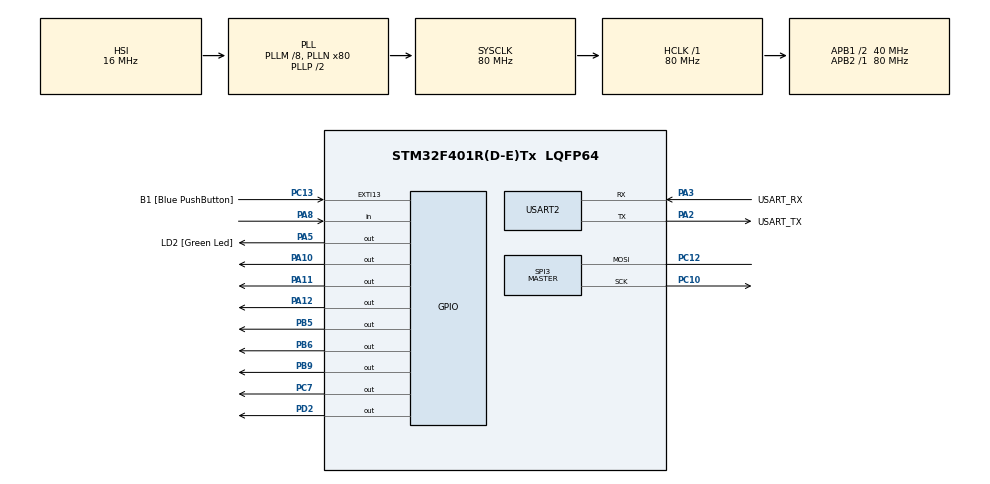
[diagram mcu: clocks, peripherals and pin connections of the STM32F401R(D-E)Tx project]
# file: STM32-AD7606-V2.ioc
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Mcu.Family=STM32F4
Mcu.Name=STM32F401R(D-E)Tx
Mcu.Package=LQFP64
NVIC.EXTI15_10_IRQn=true\:0\:0\:false\:false\:true\:true\:true\:true
NVIC.PriorityGroup=NVIC_PRIORITYGROUP_0
NVIC.SPI3_IRQn=true\:0\:0\:false\:false\:true\:true\:true\:true
NVIC.TIM1_UP_TIM10_IRQn=true\:0\:0\:false\:false\:true\:true\:true\:true
PA10.Signal=GPIO_Output
PA11.GPIO_PuPd=GPIO_NOPULL
PA11.Signal=GPIO_Output
PA12.Signal=GPIO_Output
PA13.GPIO_Label=TMS
PA13.Mode=Serial_Wire
PA13.Signal=SYS_JTMS-SWDIO
PA14.GPIO_Label=TCK
PA14.Mode=Serial_Wire
PA14.Signal=SYS_JTCK-SWCLK
PA2.GPIO_Label=USART_TX
PA2.GPIO_Mode=GPIO_MODE_AF_PP
PA2.GPIO_PuPd=GPIO_NOPULL
PA2.GPIO_Speed=GPIO_SPEED_FREQ_LOW
PA2.Mode=Asynchronous
PA2.Signal=USART2_TX
PA3.GPIO_Label=USART_RX
PA3.GPIO_Mode=GPIO_MODE_AF_PP
PA3.GPIO_PuPd=GPIO_NOPULL
PA3.GPIO_Speed=GPIO_SPEED_FREQ_LOW
PA3.Mode=Asynchronous
PA3.Signal=USART2_RX
PA5.GPIO_Label=LD2 [Green Led]
PA5.GPIO_Mode=GPIO_MODE_OUTPUT_PP
PA5.GPIO_PuPd=GPIO_NOPULL
PA5.GPIO_Speed=GPIO_SPEED_FREQ_LOW
PA5.Signal=GPIO_Output
PA8.Signal=GPIO_Input
PB3.GPIO_Label=SWO
PB3.Signal=SYS_JTDO-SWO
PB5.Signal=GPIO_Output
PB6.Signal=GPIO_Output
PB9.Signal=GPIO_Output
PC10.Mode=Simplex_Bidirectional_Master
PC10.Signal=SPI3_SCK
PC12.Mode=Simplex_Bidirectional_Master
PC12.Signal=SPI3_MOSI
PC13-ANTI_TAMP.GPIO_Label=B1 [Blue PushButton]
PC13-ANTI_TAMP.GPIO_ModeDefaultEXTI=GPIO_MODE_IT_FALLING
PC13-ANTI_TAMP.GPIO_PuPd=GPIO_NOPULL
PC13-ANTI_TAMP.Signal=GPXTI13
PC14-OSC32_IN.Mode=LSE-External-Oscillator
PC14-OSC32_IN.Signal=RCC_OSC32_IN
PC15-OSC32_OUT.Mode=LSE-External-Oscillator
PC15-OSC32_OUT.Signal=RCC_OSC32_OUT
PC7.Signal=GPIO_Output
PD2.Signal=GPIO_Output
PH0\ -\ OSC_IN.Mode=HSE-External-Clock-Source
PH0\ -\ OSC_IN.Signal=RCC_OSC_IN
PH1\ -\ OSC_OUT.Mode=HSE-External-Clock-Source
PH1\ -\ OSC_OUT.Signal=RCC_OSC_OUT
ProjectManager.HeapSize=0x200
ProjectManager.StackSize=0x400
ProjectManager.TargetToolchain=STM32CubeIDE
RCC.48MHZClocksFreq_Value=22857142.85714286
RCC.AHBFreq_Value=80000000
RCC.APB1CLKDivider=RCC_HCLK_DIV2
RCC.APB1Freq_Value=40000000
RCC.APB1TimFreq_Value=80000000
RCC.APB2Freq_Value=80000000
RCC.APB2TimFreq_Value=80000000
RCC.CortexFreq_Value=80000000
RCC.HCLKFreq_Value=80000000
RCC.HSE_VALUE=8000000
RCC.HSI_VALUE=16000000
RCC.PLLM=8
RCC.PLLN=80
RCC.PLLQ=7
RCC.SYSCLKFreq_VALUE=80000000
RCC.SYSCLKSource=RCC_SYSCLKSOURCE_PLLCLK
RCC.VCOOutputFreq_Value=160000000
SPI3.DataSize=SPI_DATASIZE_16BIT
SPI3.Direction=SPI_DIRECTION_1LINE
SPI3.Mode=SPI_MODE_MASTER
SPI3.VirtualType=VM_MASTER
USART2.VirtualMode=VM_ASYNC
VP_TIM10_VS_ClockSourceINT.Mode=Enable_Timer
board=NUCLEO-F401RE

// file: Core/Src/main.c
/* USER CODE BEGIN Header */
/**
 ******************************************************************************
 * @file           : main.c
 * @brief          : Main program body
 ******************************************************************************
 * @attention
 *
 * Copyright (c) 2024 STMicroelectronics.
 * All rights reserved.
 *
 * This software is licensed under terms that can be found in the LICENSE file
 * in the root directory of this software component.
 * If no LICENSE file comes with this software, it is provided AS-IS.
 *
 ******************************************************************************
 */
/* USER CODE END Header */
#include "main.h"

/* USER CODE BEGIN Includes */
#include "ad7606.h"
#include "stm32_gpio.h"
#include "stm32_spi.h"
#include "no_os_spi.h"
#include <string.h>
#include "no_os_dma.h"
#include "stm32_dma.h"
#define ID ID_AD7606_8

/* USER CODE END Includes */

SPI_HandleTypeDef hspi3;

TIM_HandleTypeDef htim10;

UART_HandleTypeDef huart2;

void SystemClock_Config(void);
static void MX_GPIO_Init(void);
static void MX_USART2_UART_Init(void);
static void MX_SPI3_Init(void);
static void MX_TIM10_Init(void);

int main(void)
{

  /* MCU Configuration--------------------------------------------------------*/

  /* Reset of all peripherals, Initializes the Flash interface and the Systick. */
  HAL_Init();

  /* Configure the system clock */
  SystemClock_Config();

  /* Initialize all configured peripherals */
  MX_GPIO_Init();
  MX_USART2_UART_Init();
  MX_SPI3_Init();
  MX_TIM10_Init();
  /* USER CODE BEGIN 2 */
  // SET PIN CONFIGURATIONS
  /* AD7606   ->    STM32
   * BUSY 		 -> PC7
   * RESET 		 -> PC6
   * CONVST 	 -> PB15
   * CHIP_SELECT -> PB14 (SPI CS)
   * D7_OUT 	 -> PC11  (MISO)  PB13
   * RD 		 -> PC10 (SPI SCLK)  (prima era pb12)
   * */
	//------------------------ GPIO INITIALIZATION --------------------------
	//-------- RESET PIN ----------
	struct no_os_gpio_init_param gpio_reset = { .port = 2,		// GPIO: PC7
			.number = 7,              // GPIO pin number for RESET
			.platform_ops = &stm32_gpio_ops, // Platform-specific operations (set to NULL if not needed)
			.extra = NULL             // Extra parameters if needed
			};
	struct no_os_gpio_desc gpio_reset_desc = { .port = 2, .number = 7,
			.platform_ops = &stm32_gpio_ops, .extra = NULL };

	//---------------------------------- CONVST PIN --------------------------------------------
	struct stm32_gpio_init_param stm32_convst_init_param = {
			/** Output mode */
			.mode = GPIO_MODE_OUTPUT_PP,
			.speed = GPIO_SPEED_FREQ_HIGH,
			.alternate = 0
		};
	struct stm32_gpio_desc stm32_convst_desc = {  //PB15
			.port = GPIOB,
			.gpio_config = {
					.Pin = 15,
					.Mode = GPIO_MODE_OUTPUT_PP,
					.Speed = GPIO_SPEED_FREQ_HIGH,
					.Alternate = 0,
			}
	};
	struct no_os_gpio_init_param gpio_convst = { .port = 1,		// GPIO: PB15
			.number = 15,              // GPIO pin number for CONVST
			.platform_ops = &stm32_gpio_ops, // Platform-specific operations (set to NULL if not needed)
			.extra = &stm32_convst_desc,             // Extra parameters if needed
			.extra = &stm32_convst_init_param
			};
	struct no_os_gpio_desc gpio_convst_desc = {
			.port = 1,
			.number = 15,
			.platform_ops = &stm32_gpio_ops,
			.extra = &stm32_convst_desc,
			.extra = &stm32_convst_init_param
	};

	//----------------------------------- BUSY PIN (PC7) -------------------------------------------------
	struct stm32_gpio_desc stm32_busy_desc = {
			.port = GPIOC,
			.gpio_config = {
					.Pin = GPIO_PIN_7,
					.Mode = GPIO_MODE_INPUT,
					.Speed = GPIO_SPEED_FREQ_HIGH,
					.Alternate = 0,
			}
	};
	struct stm32_gpio_init_param stm32_busy_init_param = {
				/** Output mode */
				.mode = GPIO_MODE_INPUT,
				.speed = GPIO_SPEED_FREQ_HIGH,
				.alternate = 0
			};
	struct no_os_gpio_init_param gpio_busy = { .port = 2,		// GPIO: PC7
			.number = 7,              // GPIO pin number for BUSY
			.platform_ops = &stm32_gpio_ops, // Platform-specific operations (set to NULL if not needed)
			.extra = &stm32_busy_desc,             // Extra parameters if needed
			.extra = &stm32_busy_init_param
			};
	struct no_os_gpio_desc gpio_busy_desc = {
			.port = 2,
			.number = 7,
			.platform_ops = &stm32_gpio_ops,
			.extra = &stm32_busy_desc,
			.extra = &stm32_busy_init_param
	};

	//------ STBY_N PIN ---------
	//struct stm32_gpio_desc *stm32_stdby_n_desc;
	struct no_os_gpio_init_param gpio_stby_n = { .port = 0,	// GPIO: PA12
			.number = GPIO_PIN_12,              // GPIO pin number for STBYn
			.platform_ops = &stm32_gpio_ops, // Platform-specific operations (set to NULL if not needed)
			.extra = NULL             // Extra parameters if needed
			};
	struct no_os_gpio_desc gpio_stby_n_desc = { .port = 0,
			.number = GPIO_PIN_12, .platform_ops = &stm32_gpio_ops, .extra = NULL };

	//------ RANGE PIN -> GND -------
	//struct stm32_gpio_desc *stm32_range_desc;
	struct no_os_gpio_init_param gpio_range = { .port = 0,	// GPIO: PA10
			.number = GPIO_PIN_10,              // GPIO pin number for RANGE
			.platform_ops = &stm32_gpio_ops, // Platform-specific operations (set to NULL if not needed)
			.extra = NULL             // Extra parameters if needed
			};
	struct no_os_gpio_desc gpio_range_desc = { .port = 0, .number = GPIO_PIN_10,
			.platform_ops = &stm32_gpio_ops, .extra = NULL };
	//----- OS0 PIN -> GND -----
	//struct stm32_gpio_desc *stm32_os0_desc;
	struct no_os_gpio_init_param gpio_os0 = { .port = 3,		// GPIO: PD2
			.number = GPIO_PIN_2,              // GPIO pin number for OS0
			.platform_ops = &stm32_gpio_ops, // Platform-specific operations (set to NULL if not needed)
			.extra = NULL             // Extra parameters if needed
			};
	struct no_os_gpio_desc gpio_os0_desc = { .port = 3, .number = GPIO_PIN_2,
			.platform_ops = &stm32_gpio_ops, .extra = NULL };
	//---- OS1 PIN -> GND -----
	//struct stm32_gpio_desc *stm32_os1_desc;
	struct no_os_gpio_init_param gpio_os1 = { .port = 1,		// GPIO: PB5
			.number = GPIO_PIN_5,              // GPIO pin number for OS1
			.platform_ops = &stm32_gpio_ops, // Platform-specific operations (set to NULL if not needed)
			.extra = NULL             // Extra parameters if needed
			};
	struct no_os_gpio_desc gpio_os1_desc = { .port = 1, .number = GPIO_PIN_5,
			.platform_ops = &stm32_gpio_ops, .extra = NULL };
	//------- OS2 PIN -> GND ---
	//struct stm32_gpio_desc *stm32_os2_desc;
	struct no_os_gpio_init_param gpio_os2 = { .port = 0,		// GPIO: PA11
			.number = 11,              // GPIO pin number for OS2
			.platform_ops = &stm32_gpio_ops, // Platform-specific operations (set to NULL if not needed)
			.extra = NULL             // Extra parameters if needed
			};
	struct no_os_gpio_desc gpio_os2_desc = { .port = 0, .number = 11,
			.platform_ops = &stm32_gpio_ops, .extra = NULL };

	//--------- PAR_SER PIN (PB14) ----
	//struct stm32_gpio_desc *stm32_par_ser_desc;
	struct no_os_gpio_init_param gpio_par_ser = { .port = 1,	// GPIO: PB14
			.number = 14,              // GPIO pin number for PARn/SER
			.platform_ops = &stm32_gpio_ops, // Platform-specific operations (set to NULL if not needed)
			.extra = NULL             // Extra parameters if needed
			};
	struct no_os_gpio_desc gpio_par_ser_desc =
			{ .port = 1, .number = 14, .platform_ops = &stm32_gpio_ops,
					.extra = NULL };
	// -------------- DMA INITIALIZATION --------------
	struct no_os_dma_init_param dma_init = {
			.id = 123,
			.num_ch = 8,
			.platform_ops = &stm32_dma_ops,
			.sg_handler = NULL
	};
	struct no_os_dma_desc dma_desc = {
			.platform_ops = &stm32_dma_ops
	};
	struct no_os_dma_ch dma_rx_ch = {
			.id = 1,
	};
	struct no_os_dma_ch dma_tx_ch ={
			.id = 2,
	};
	// -------------- SPI INITIALIZATION ---------------
	struct no_os_platform_spi_delays platform_spi_delays = {
			.cs_delay_first = 1, .cs_delay_last = 1 };

	struct stm32_spi_init_param stm32_spi_init_param = {
			.chip_select_port = 1,
			.get_input_clock = HAL_RCC_GetPCLK2Freq,
			.dma_init = &dma_init,
			.rxdma_ch = &dma_rx_ch,
			.txdma_ch = &dma_tx_ch,
			.pwm_init = NULL
	};
	struct stm32_spi_desc stm32_spi_desc = {
			.hspi = &hspi3,
			.input_clock = HAL_RCC_GetPCLK2Freq,
			.chip_select = &gpio_par_ser_desc,
	};
	struct no_os_spibus_desc spibus_desc = {
			.device_id = ID,
			.max_speed_hz = HAL_RCC_GetPCLK2Freq,
			.mode = NO_OS_SPI_MODE_0,
			.bit_order = NO_OS_SPI_BIT_ORDER_MSB_FIRST,
			.platform_ops = &stm32_spi_ops,
	};
	struct no_os_spi_init_param spi_init_param = {
			.device_id = ID,
			.max_speed_hz = HAL_RCC_GetPCLK2Freq,
			.chip_select = &gpio_par_ser.port,   //DA CONTROLLARE
			.mode = NO_OS_SPI_MODE_0,
			.bit_order = NO_OS_SPI_BIT_ORDER_MSB_FIRST,
			.platform_ops =	&stm32_spi_ops,
			.platform_delays = platform_spi_delays,
			.extra = &stm32_spi_init_param,
			.extra = &stm32_spi_desc,
			.extra = &spibus_desc,
	};

	struct no_os_spi_desc spi_desc = {
			.bus = &spibus_desc,
			.device_id = ID,
			.max_speed_hz = HAL_RCC_GetPCLK2Freq,
			.chip_select = &gpio_par_ser.port,
			.mode = NO_OS_SPI_MODE_0,
			.bit_order = NO_OS_SPI_BIT_ORDER_MSB_FIRST,
			.platform_ops = &stm32_spi_ops,
			.platform_delays = platform_spi_delays,
			.extra = &stm32_spi_desc,
			.extra = &stm32_spi_init_param,
	};
	//spi_desc->extra = &stm32_spi_desc;

	//------------ DEVICE AD7606 -------------
	struct ad7606_config ad7606_config = { .op_mode = AD7606_NORMAL,
			.dout_format = AD7606_2_DOUT, .ext_os_clock = false,
			.status_header = true };
	struct ad7606_range ad7606_range = { .min = -5000, .max = 5000,
			.differential = false };
	struct ad7606_oversampling ad7606_oversampling = { .os_pad = 4, .os_ratio =
			4 };
	struct ad7606_digital_diag *ad7606_digital_diag;
	uint8_t data[28];
	struct ad7606_dev dev = {
			.spi_desc = &spi_desc,
			.gpio_reset = &gpio_reset_desc,
			.gpio_convst = &gpio_convst_desc,
			.gpio_busy = &gpio_busy_desc,
			.gpio_stby_n = &gpio_stby_n_desc,
			.gpio_range = &gpio_range_desc,
			.gpio_os0 = &gpio_os0_desc,
			.gpio_os1 =	&gpio_os1_desc,
			.gpio_os2 = &gpio_os2_desc,
			.gpio_par_ser =	&gpio_par_ser_desc,
			.device_id = ID, .oversampling = ad7606_oversampling,
			.sw_mode = false, // Whether the device is running in hardware or software mode: false=hardware mode ????
			.reg_mode = false, // Whether the device is running in register or ADC reading mode: false = ADC reading mode ????
			.max_dout_lines = AD7606_2_DOUT, .config = ad7606_config,
			.digital_diag_enable = ad7606_digital_diag, .num_channels = 8,
			.range_ch = ad7606_range, .data = data //Data buffer (used internally by the SPI communication functions)
			};

	struct ad7606_init_param ad7606_init_param = {
			.spi_init = spi_init_param,
			.gpio_reset = &gpio_reset,
			.gpio_convst = &gpio_convst,
			.gpio_busy = &gpio_busy,
			.gpio_stby_n = &gpio_stby_n,
			.gpio_range = &gpio_range,
			.gpio_os0 = &gpio_os0, .gpio_os1 = &gpio_os1,
			.gpio_os2 = &gpio_os2,
			.gpio_par_ser = &gpio_par_ser,
			.device_id =ID,
			.oversampling = ad7606_oversampling,
			.sw_mode = false,
			.config = ad7606_config,
			.digital_diag_enable =	ad7606_digital_diag,
			.range_ch = ad7606_range };

	/*HAL_GPIO_WritePin(GPIOB, GPIO_PIN_6, (GPIO_PinState)1);  //chip select
	HAL_Delay(200);
	HAL_GPIO_WritePin(GPIOC, GPIO_PIN_7, (GPIO_PinState)1); //convst alto
	HAL_Delay(100);

	HAL_GPIO_WritePin(GPIOB, GPIO_PIN_9, (GPIO_PinState)1);  //reset
	HAL_Delay(100);
	HAL_GPIO_WritePin(GPIOB, GPIO_PIN_9, (GPIO_PinState)0); //reset
	HAL_Delay(200);

	HAL_GPIO_WritePin(GPIOC, GPIO_PIN_7, (GPIO_PinState)0); //convst basso
	HAL_Delay(100);
	HAL_GPIO_WritePin(GPIOC, GPIO_PIN_7, (GPIO_PinState)1);  // convst alto

	HAL_GPIO_ReadPin(GPIOA, GPIO_PIN_8);  //read busy */

	//initialization of AD7606 device
	int32_t ret_init = ad7606_init(&dev, &ad7606_init_param);
	char message_init[50];
	if (ret_init == 0) {
		snprintf(message_init, sizeof(message_init), "INITIALIZATION of AD7606 successful\n");
		HAL_UART_Transmit(&huart2, (uint8_t*)message_init, strlen(message_init), HAL_MAX_DELAY);
		printf("INITIALIZATION of AD7606 successful");
	} else {
		printf("ERROR in initialization of AD7606");
		return;
	}
	// array to store data from conversion
	uint32_t data_read[8];
  /* USER CODE END 2 */

  /* Infinite loop */
  /* USER CODE BEGIN WHILE */
	uint32_t ret_data;
	while (1) {
		ret_data = ad7606_read(&dev, data_read);
		if(ret_data == 0){
			char message_data[50];
			for(int i=0; i<8; i++){
				snprintf(message_data, sizeof(message_data), "%d", data_read[i]);
				HAL_UART_Transmit(&huart2, (uint8_t*)message_data, strlen(message_data), HAL_MAX_DELAY);
			}
		}
		no_os_udelay(3000000); //wait 3 seconds
    /* USER CODE END WHILE */

	}
}

void SystemClock_Config(void)
{
  RCC_OscInitTypeDef RCC_OscInitStruct = {0};
  RCC_ClkInitTypeDef RCC_ClkInitStruct = {0};

  /** Configure the main internal regulator output voltage
  */
  __HAL_RCC_PWR_CLK_ENABLE();
  __HAL_PWR_VOLTAGESCALING_CONFIG(PWR_REGULATOR_VOLTAGE_SCALE2);

  /** Initializes the RCC Oscillators according to the specified parameters
  * in the RCC_OscInitTypeDef structure.
  */
  RCC_OscInitStruct.OscillatorType = RCC_OSCILLATORTYPE_HSI;
  RCC_OscInitStruct.HSIState = RCC_HSI_ON;
  RCC_OscInitStruct.HSICalibrationValue = RCC_HSICALIBRATION_DEFAULT;
  RCC_OscInitStruct.PLL.PLLState = RCC_PLL_ON;
  RCC_OscInitStruct.PLL.PLLSource = RCC_PLLSOURCE_HSI;
  RCC_OscInitStruct.PLL.PLLM = 8;
  RCC_OscInitStruct.PLL.PLLN = 80;
  RCC_OscInitStruct.PLL.PLLP = RCC_PLLP_DIV2;
  RCC_OscInitStruct.PLL.PLLQ = 7;
  if (HAL_RCC_OscConfig(&RCC_OscInitStruct) != HAL_OK)
  {
    Error_Handler();
  }

  /** Initializes the CPU, AHB and APB buses clocks
  */
  RCC_ClkInitStruct.ClockType = RCC_CLOCKTYPE_HCLK|RCC_CLOCKTYPE_SYSCLK
                              |RCC_CLOCKTYPE_PCLK1|RCC_CLOCKTYPE_PCLK2;
  RCC_ClkInitStruct.SYSCLKSource = RCC_SYSCLKSOURCE_PLLCLK;
  RCC_ClkInitStruct.AHBCLKDivider = RCC_SYSCLK_DIV1;
  RCC_ClkInitStruct.APB1CLKDivider = RCC_HCLK_DIV2;
  RCC_ClkInitStruct.APB2CLKDivider = RCC_HCLK_DIV1;

  if (HAL_RCC_ClockConfig(&RCC_ClkInitStruct, FLASH_LATENCY_2) != HAL_OK)
  {
    Error_Handler();
  }
}

static void MX_SPI3_Init(void)
{

  /* SPI3 parameter configuration*/
  hspi3.Instance = SPI3;
  hspi3.Init.Mode = SPI_MODE_MASTER;
  hspi3.Init.Direction = SPI_DIRECTION_1LINE;
  hspi3.Init.DataSize = SPI_DATASIZE_16BIT;
  hspi3.Init.CLKPolarity = SPI_POLARITY_LOW;
  hspi3.Init.CLKPhase = SPI_PHASE_1EDGE;
  hspi3.Init.NSS = SPI_NSS_SOFT;
  hspi3.Init.BaudRatePrescaler = SPI_BAUDRATEPRESCALER_2;
  hspi3.Init.FirstBit = SPI_FIRSTBIT_MSB;
  hspi3.Init.TIMode = SPI_TIMODE_DISABLE;
  hspi3.Init.CRCCalculation = SPI_CRCCALCULATION_DISABLE;
  hspi3.Init.CRCPolynomial = 10;
  if (HAL_SPI_Init(&hspi3) != HAL_OK)
  {
    Error_Handler();
  }

}

static void MX_TIM10_Init(void)
{

  htim10.Instance = TIM10;
  htim10.Init.Prescaler = 0;
  htim10.Init.CounterMode = TIM_COUNTERMODE_UP;
  htim10.Init.Period = 65535;
  htim10.Init.ClockDivision = TIM_CLOCKDIVISION_DIV1;
  htim10.Init.AutoReloadPreload = TIM_AUTORELOAD_PRELOAD_DISABLE;
  if (HAL_TIM_Base_Init(&htim10) != HAL_OK)
  {
    Error_Handler();
  }

}

static void MX_USART2_UART_Init(void)
{

  huart2.Instance = USART2;
  huart2.Init.BaudRate = 115200;
  huart2.Init.WordLength = UART_WORDLENGTH_8B;
  huart2.Init.StopBits = UART_STOPBITS_1;
  huart2.Init.Parity = UART_PARITY_NONE;
  huart2.Init.Mode = UART_MODE_TX_RX;
  huart2.Init.HwFlowCtl = UART_HWCONTROL_NONE;
  huart2.Init.OverSampling = UART_OVERSAMPLING_16;
  if (HAL_UART_Init(&huart2) != HAL_OK)
  {
    Error_Handler();
  }

}

static void MX_GPIO_Init(void)
{
  GPIO_InitTypeDef GPIO_InitStruct = {0};

  /* GPIO Ports Clock Enable */
  __HAL_RCC_GPIOC_CLK_ENABLE();
  __HAL_RCC_GPIOH_CLK_ENABLE();
  __HAL_RCC_GPIOA_CLK_ENABLE();
  __HAL_RCC_GPIOD_CLK_ENABLE();
  __HAL_RCC_GPIOB_CLK_ENABLE();

  /*Configure GPIO pin Output Level */
  HAL_GPIO_WritePin(GPIOA, LD2_Pin|GPIO_PIN_10|GPIO_PIN_11|GPIO_PIN_12, GPIO_PIN_RESET);

  /*Configure GPIO pin Output Level */
  HAL_GPIO_WritePin(GPIOC, GPIO_PIN_7, GPIO_PIN_RESET);

  /*Configure GPIO pin Output Level */
  HAL_GPIO_WritePin(GPIOD, GPIO_PIN_2, GPIO_PIN_RESET);

  /*Configure GPIO pin Output Level */
  HAL_GPIO_WritePin(GPIOB, GPIO_PIN_5|GPIO_PIN_6|GPIO_PIN_9, GPIO_PIN_RESET);

  /*Configure GPIO pin : B1_Pin */
  GPIO_InitStruct.Pin = B1_Pin;
  GPIO_InitStruct.Mode = GPIO_MODE_IT_FALLING;
  GPIO_InitStruct.Pull = GPIO_NOPULL;
  HAL_GPIO_Init(B1_GPIO_Port, &GPIO_InitStruct);

  /*Configure GPIO pins : LD2_Pin PA10 PA11 PA12 */
  GPIO_InitStruct.Pin = LD2_Pin|GPIO_PIN_10|GPIO_PIN_11|GPIO_PIN_12;
  GPIO_InitStruct.Mode = GPIO_MODE_OUTPUT_PP;
  GPIO_InitStruct.Pull = GPIO_NOPULL;
  GPIO_InitStruct.Speed = GPIO_SPEED_FREQ_LOW;
  HAL_GPIO_Init(GPIOA, &GPIO_InitStruct);

  /*Configure GPIO pin : PC7 */
  GPIO_InitStruct.Pin = GPIO_PIN_7;
  GPIO_InitStruct.Mode = GPIO_MODE_OUTPUT_PP;
  GPIO_InitStruct.Pull = GPIO_NOPULL;
  GPIO_InitStruct.Speed = GPIO_SPEED_FREQ_LOW;
  HAL_GPIO_Init(GPIOC, &GPIO_InitStruct);

  /*Configure GPIO pin : PA8 */
  GPIO_InitStruct.Pin = GPIO_PIN_8;
  GPIO_InitStruct.Mode = GPIO_MODE_INPUT;
  GPIO_InitStruct.Pull = GPIO_NOPULL;
  HAL_GPIO_Init(GPIOA, &GPIO_InitStruct);

  /*Configure GPIO pin : PD2 */
  GPIO_InitStruct.Pin = GPIO_PIN_2;
  GPIO_InitStruct.Mode = GPIO_MODE_OUTPUT_PP;
  GPIO_InitStruct.Pull = GPIO_NOPULL;
  GPIO_InitStruct.Speed = GPIO_SPEED_FREQ_LOW;
  HAL_GPIO_Init(GPIOD, &GPIO_InitStruct);

  /*Configure GPIO pins : PB5 PB6 PB9 */
  GPIO_InitStruct.Pin = GPIO_PIN_5|GPIO_PIN_6|GPIO_PIN_9;
  GPIO_InitStruct.Mode = GPIO_MODE_OUTPUT_PP;
  GPIO_InitStruct.Pull = GPIO_NOPULL;
  GPIO_InitStruct.Speed = GPIO_SPEED_FREQ_LOW;
  HAL_GPIO_Init(GPIOB, &GPIO_InitStruct);

  /* EXTI interrupt init*/
  HAL_NVIC_SetPriority(EXTI15_10_IRQn, 0, 0);
  HAL_NVIC_EnableIRQ(EXTI15_10_IRQn);

}

void Error_Handler(void)
{
	__disable_irq();
	while (1) {
	}
}
